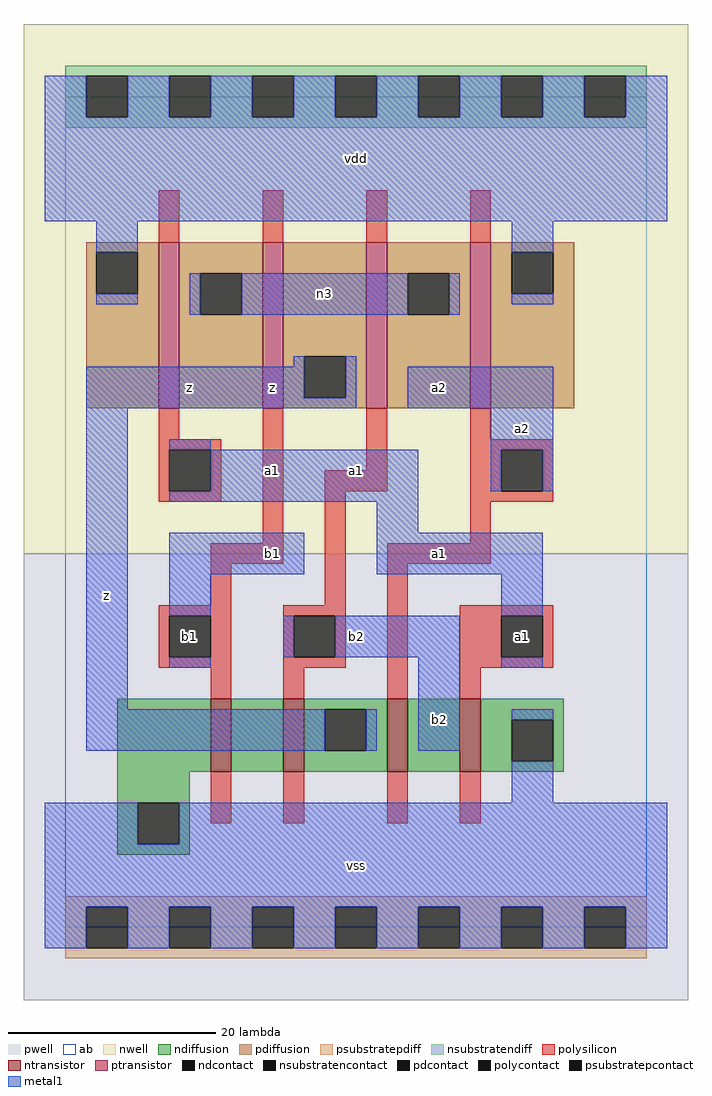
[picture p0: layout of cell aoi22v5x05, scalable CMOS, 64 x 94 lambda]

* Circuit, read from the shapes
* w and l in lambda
.subckt aoi22v5x05 a1 a2 b1 b2 n3 vdd vss z
M1 n1 b1 vss vss nfet w=7 l=2
M2 z b2 n1 vss nfet w=7 l=2
M3 n2 a2 z vss nfet w=7 l=2
M4 vss a1 n2 vss nfet w=7 l=2
M5 n3 a1 vdd vdd pfet w=16 l=2
M6 z b1 n3 vdd pfet w=16 l=2
M7 n3 b2 z vdd pfet w=16 l=2
M8 vdd a2 n3 vdd pfet w=16 l=2
.ends

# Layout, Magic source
magic
tech scmos
<< ab >>
rect 0 0 56 80
<< pwell >>
rect -4 -7 60 36
<< nwell >>
rect -4 36 60 87
<< polysilicon >>
rect 9 66 11 71
rect 19 66 21 71
rect 29 66 31 71
rect 39 66 41 71
rect 9 47 11 50
rect 9 46 15 47
rect 9 42 10 46
rect 14 42 15 46
rect 9 41 15 42
rect 19 37 21 50
rect 29 44 31 50
rect 14 35 21 37
rect 25 42 31 44
rect 39 47 41 50
rect 39 46 47 47
rect 39 42 42 46
rect 46 42 47 46
rect 14 31 16 35
rect 25 31 27 42
rect 39 41 47 42
rect 39 37 41 41
rect 9 30 16 31
rect 9 26 10 30
rect 14 26 16 30
rect 9 25 16 26
rect 14 22 16 25
rect 21 30 27 31
rect 21 26 22 30
rect 26 26 27 30
rect 21 25 27 26
rect 31 35 41 37
rect 21 22 23 25
rect 31 22 33 35
rect 38 30 47 31
rect 38 26 42 30
rect 46 26 47 30
rect 38 25 47 26
rect 38 22 40 25
rect 14 10 16 15
rect 21 10 23 15
rect 31 10 33 15
rect 38 10 40 15
<< ndiffusion >>
rect 5 15 14 22
rect 16 15 21 22
rect 23 21 31 22
rect 23 17 25 21
rect 29 17 31 21
rect 23 15 31 17
rect 33 15 38 22
rect 40 20 48 22
rect 40 16 43 20
rect 47 16 48 20
rect 40 15 48 16
rect 5 12 12 15
rect 5 8 7 12
rect 11 8 12 12
rect 5 7 12 8
<< pdiffusion >>
rect 2 65 9 66
rect 2 61 3 65
rect 7 61 9 65
rect 2 50 9 61
rect 11 63 19 66
rect 11 59 13 63
rect 17 59 19 63
rect 11 50 19 59
rect 21 55 29 66
rect 21 51 23 55
rect 27 51 29 55
rect 21 50 29 51
rect 31 63 39 66
rect 31 59 33 63
rect 37 59 39 63
rect 31 50 39 59
rect 41 65 49 66
rect 41 61 43 65
rect 47 61 49 65
rect 41 50 49 61
<< metal1 >>
rect -2 78 2 82
rect 6 78 10 82
rect 14 78 18 82
rect 22 78 26 82
rect 30 78 34 82
rect 38 78 42 82
rect 46 78 50 82
rect 54 78 58 82
rect -2 68 58 78
rect 3 65 7 68
rect 43 65 47 68
rect 3 60 7 61
rect 12 59 13 63
rect 17 59 33 63
rect 37 59 38 63
rect 43 60 47 61
rect 22 54 23 55
rect 2 51 23 54
rect 27 51 28 55
rect 2 50 28 51
rect 33 50 47 54
rect 2 21 6 50
rect 10 46 14 47
rect 41 46 47 50
rect 14 42 34 46
rect 41 42 42 46
rect 46 42 47 46
rect 10 41 34 42
rect 30 38 34 41
rect 10 34 23 38
rect 30 34 46 38
rect 10 30 14 34
rect 42 30 46 34
rect 21 26 22 30
rect 26 26 38 30
rect 10 25 14 26
rect 2 17 25 21
rect 29 17 30 21
rect 34 17 38 26
rect 42 25 46 26
rect 43 20 47 21
rect 43 12 47 16
rect -2 8 7 12
rect 11 8 58 12
rect -2 2 58 8
rect -2 -2 2 2
rect 6 -2 10 2
rect 14 -2 18 2
rect 22 -2 26 2
rect 30 -2 34 2
rect 38 -2 42 2
rect 46 -2 50 2
rect 54 -2 58 2
<< ntransistor >>
rect 14 15 16 22
rect 21 15 23 22
rect 31 15 33 22
rect 38 15 40 22
<< ptransistor >>
rect 9 50 11 66
rect 19 50 21 66
rect 29 50 31 66
rect 39 50 41 66
<< polycontact >>
rect 10 42 14 46
rect 42 42 46 46
rect 10 26 14 30
rect 22 26 26 30
rect 42 26 46 30
<< ndcontact >>
rect 25 17 29 21
rect 43 16 47 20
rect 7 8 11 12
<< pdcontact >>
rect 3 61 7 65
rect 13 59 17 63
rect 23 51 27 55
rect 33 59 37 63
rect 43 61 47 65
<< psubstratepcontact >>
rect 2 -2 6 2
rect 10 -2 14 2
rect 18 -2 22 2
rect 26 -2 30 2
rect 34 -2 38 2
rect 42 -2 46 2
rect 50 -2 54 2
<< nsubstratencontact >>
rect 2 78 6 82
rect 10 78 14 82
rect 18 78 22 82
rect 26 78 30 82
rect 34 78 38 82
rect 42 78 46 82
rect 50 78 54 82
<< psubstratepdiff >>
rect 0 2 56 3
rect 0 -2 2 2
rect 6 -2 10 2
rect 14 -2 18 2
rect 22 -2 26 2
rect 30 -2 34 2
rect 38 -2 42 2
rect 46 -2 50 2
rect 54 -2 56 2
rect 0 -3 56 -2
<< nsubstratendiff >>
rect 0 82 56 83
rect 0 78 2 82
rect 6 78 10 82
rect 14 78 18 82
rect 22 78 26 82
rect 30 78 34 82
rect 38 78 42 82
rect 46 78 50 82
rect 54 78 56 82
rect 0 77 56 78
<< labels >>
rlabel metal1 4 32 4 32 6 z
rlabel polycontact 12 28 12 28 6 b1
rlabel metal1 12 52 12 52 6 z
rlabel metal1 28 6 28 6 6 vss
rlabel metal1 28 28 28 28 6 b2
rlabel metal1 20 36 20 36 6 b1
rlabel metal1 20 44 20 44 6 a1
rlabel metal1 28 44 28 44 6 a1
rlabel metal1 20 52 20 52 6 z
rlabel metal1 28 74 28 74 6 vdd
rlabel metal1 36 20 36 20 6 b2
rlabel polycontact 44 28 44 28 6 a1
rlabel metal1 36 36 36 36 6 a1
rlabel metal1 44 48 44 48 6 a2
rlabel metal1 36 52 36 52 6 a2
rlabel metal1 25 61 25 61 6 n3
<< end >>
